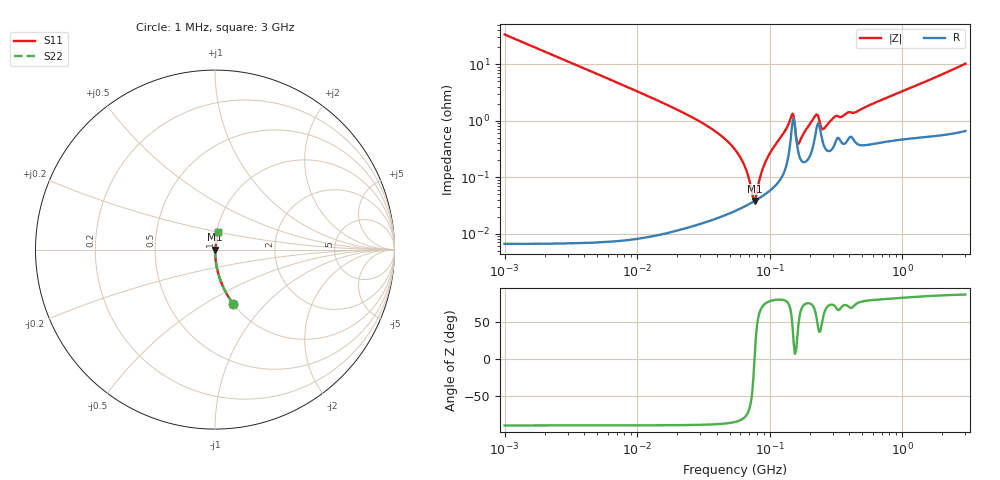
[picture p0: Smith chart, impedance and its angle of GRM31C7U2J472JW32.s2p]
!Murata Part Number: GRM31C7U2J472JW32
!These Parameters are Measured in Series Mode Connection
!Data Generated on Mar 30, 2021
!  o--ll--o
!Port1  Port2
!  o------o
!Operation Temp=25[degC], DC Bias Voltage=0[V]
!Freq. Start=1000[kHz] Stop=3[GHz] 401[Steps]
# Hz S RI R 50
!Freq.(Hz) S11(Real) S11(Imag) S21(Real) S21(Imag) S12(Real) S12(Imag) S22(Real) S22(Imag)
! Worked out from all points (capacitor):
!   401 points, 1 MHz to 3 GHz, reference 50 ohm
!   read as one part in series: C = 4.73 nF near 1.041 MHz
!   lowest |Z| = 37.6 mohm at 76.97 MHz (marker M1)
!   series resonance near 76.89 MHz, so ESL is about 910 pH
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1000000  0.1018 -0.3023  0.8982 0.3023  0.8982 0.3023  0.1018 -0.3023
3823119  0.00772 -0.0872  0.9923 0.0872  0.9923 0.0872  0.00772 -0.0872
1.461624e7  0.000586 -0.0222  0.9994 0.0222  0.9994 0.0222  0.000586 -0.0222
3.456417e7  0.000226 -0.00779  0.9998 0.00779  0.9998 0.00779  0.000226 -0.00779
5.477226e7  0.000259 -0.00307  0.9997 0.00307  0.9997 0.00307  0.000259 -0.00307
6.428402e7  0.000301 -0.00161  0.9997 0.00161  0.9997 0.00161  0.000301 -0.00161
6.826239e7  0.000322 -0.00107  0.9997 0.00107  0.9997 0.00107  0.000322 -0.00107
7.395247e7  0.000356 -0.000352  0.9996 0.000352  0.9996 0.000352  0.000356 -0.000352
7.697298e7  0.000376 1.03e-05  0.9996 -1.03e-05  0.9996 -1.03e-05  0.000376 1.03e-05
8.011685e7  0.000398 0.000376  0.9996 -0.000376  0.9996 -0.000376  0.000398 0.000376
8.679508e7  0.000449 0.00112  0.9996 -0.00112  0.9996 -0.00112  0.000449 0.00112
9.402997e7  0.000514 0.0019  0.9995 -0.0019  0.9995 -0.0019  0.000514 0.0019
1.460522e8  0.00643 0.0102  0.9936 -0.0102  0.9936 -0.0102  0.00643 0.0102
1.520175e8  0.011 0.00396  0.989 -0.00396  0.989 -0.00396  0.011 0.00396
1.646891e8  0.00273 0.00269  0.9973 -0.00269  0.9973 -0.00269  0.00273 0.00269
2.094008e8  0.00313 0.00948  0.9969 -0.00948  0.9969 -0.00948  0.00313 0.00948
2.268557e8  0.00779 0.0102  0.9922 -0.0102  0.9922 -0.0102  0.00779 0.0102
2.558035e8  0.00372 0.00612  0.9963 -0.00612  0.9963 -0.00612  0.00372 0.00612
3.124888e8  0.00415 0.0111  0.9959 -0.0111  0.9959 -0.0111  0.00415 0.0111
4.480278e8  0.00421 0.0135  0.9958 -0.0135  0.9958 -0.0135  0.00421 0.0135
8.005644e8  0.00498 0.026  0.995 -0.026  0.995 -0.026  0.00498 0.026
3e9  0.0166 0.0997  0.9834 -0.0997  0.9834 -0.0997  0.0166 0.0997
